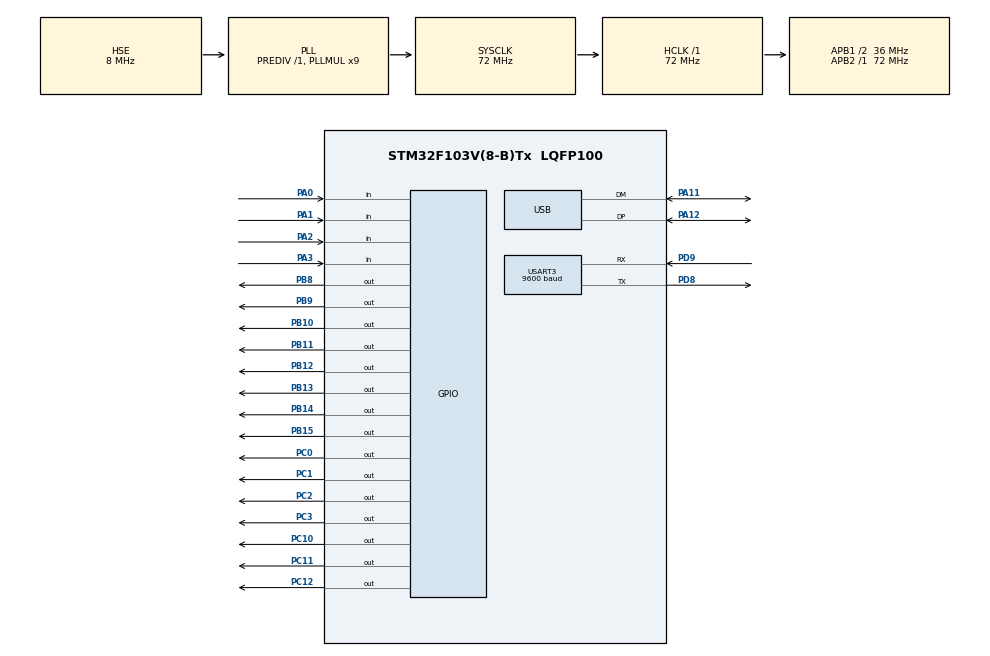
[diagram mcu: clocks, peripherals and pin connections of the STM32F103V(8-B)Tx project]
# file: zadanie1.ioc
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Mcu.Family=STM32F1
Mcu.Name=STM32F103V(8-B)Tx
Mcu.Package=LQFP100
NVIC.PriorityGroup=NVIC_PRIORITYGROUP_4
NVIC.USART3_IRQn=true\:0\:0\:false\:false\:true\:true\:true\:true
NVIC.USB_LP_CAN1_RX0_IRQn=true\:0\:0\:false\:false\:true\:false\:true\:true
OSC_IN.Mode=HSE-External-Oscillator
OSC_IN.Signal=RCC_OSC_IN
OSC_OUT.Mode=HSE-External-Oscillator
OSC_OUT.Signal=RCC_OSC_OUT
PA0-WKUP.Signal=GPIO_Input
PA1.Signal=GPIO_Input
PA11.Mode=Device
PA11.Signal=USB_DM
PA12.Mode=Device
PA12.Signal=USB_DP
PA13.Mode=JTAG_5_pins
PA13.Signal=SYS_JTMS-SWDIO
PA14.Mode=JTAG_5_pins
PA14.Signal=SYS_JTCK-SWCLK
PA15.Mode=JTAG_5_pins
PA15.Signal=SYS_JTDI
PA2.Signal=GPIO_Input
PA3.Signal=GPIO_Input
PB10.Signal=GPIO_Output
PB11.Signal=GPIO_Output
PB12.Signal=GPIO_Output
PB13.Signal=GPIO_Output
PB14.Signal=GPIO_Output
PB15.Signal=GPIO_Output
PB3.Mode=JTAG_5_pins
PB3.Signal=SYS_JTDO-TRACESWO
PB4.Mode=JTAG_5_pins
PB4.Signal=SYS_NJTRST
PB8.Signal=GPIO_Output
PB9.Signal=GPIO_Output
PC0.Signal=GPIO_Output
PC1.Signal=GPIO_Output
PC10.Signal=GPIO_Output
PC11.Signal=GPIO_Output
PC12.Signal=GPIO_Output
PC14-OSC32_IN.Mode=LSE-External-Oscillator
PC14-OSC32_IN.Signal=RCC_OSC32_IN
PC15-OSC32_OUT.Mode=LSE-External-Oscillator
PC15-OSC32_OUT.Signal=RCC_OSC32_OUT
PC2.Signal=GPIO_Output
PC3.Signal=GPIO_Output
PD8.Mode=Asynchronous
PD8.Signal=USART3_TX
PD9.Mode=Asynchronous
PD9.Signal=USART3_RX
ProjectManager.HeapSize=0x200
ProjectManager.StackSize=0x400
ProjectManager.TargetToolchain=MDK-ARM V5.32
RCC.AHBFreq_Value=72000000
RCC.APB1CLKDivider=RCC_HCLK_DIV2
RCC.APB1Freq_Value=36000000
RCC.APB1TimFreq_Value=72000000
RCC.APB2Freq_Value=72000000
RCC.APB2TimFreq_Value=72000000
RCC.HCLKFreq_Value=72000000
RCC.PLLMUL=RCC_PLL_MUL9
RCC.PLLSourceVirtual=RCC_PLLSOURCE_HSE
RCC.SYSCLKFreq_VALUE=72000000
RCC.SYSCLKSource=RCC_SYSCLKSOURCE_PLLCLK
RCC.USBFreq_Value=48000000
RCC.USBPrescaler=RCC_USBCLKSOURCE_PLL_DIV1_5
USART3.BaudRate=9600
USART3.VirtualMode=VM_ASYNC
USB_DEVICE.APP_RX_DATA_SIZE=64
USB_DEVICE.APP_TX_DATA_SIZE=64
USB_DEVICE.CLASS_NAME_FS=CDC
USB_DEVICE.VirtualMode=Cdc
USB_DEVICE.VirtualModeFS=Cdc_FS
VP_USB_DEVICE_VS_USB_DEVICE_CDC_FS.Mode=CDC_FS
board=custom

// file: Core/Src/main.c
/* USER CODE BEGIN Header */
/**
  ******************************************************************************
  * @file           : main.c
  * @brief          : Main program body
  ******************************************************************************
  * @attention
  *
  * Copyright (c) 2022 STMicroelectronics.
  * All rights reserved.
  *
  * This software is licensed under terms that can be found in the LICENSE file
  * in the root directory of this software component.
  * If no LICENSE file comes with this software, it is provided AS-IS.
  *
  ******************************************************************************
  */
/* USER CODE END Header */
#include "main.h"
#include "usb_device.h"

/* USER CODE BEGIN Includes */
#include "lcd4bit.h"
#include "stdio.h"
#include "usbd_cdc_if.h"
/* USER CODE END Includes */

/* USER CODE BEGIN PD */
#define PA0 *((volatile unsigned long*) 0x42210100)
#define PA1 *((volatile unsigned long*) 0x42210104)
#define PA2 *((volatile unsigned long*) 0x42210108)
#define PA3 *((volatile unsigned long*) 0x4221010C)

/* USER CODE END PD */

UART_HandleTypeDef huart3;

/* USER CODE BEGIN PV */

char RXBuf[10];
char TXBuf[10]={"SW_0"};
char Z;
int KOM=0;
int Lr=0;
int NN;
int size;
Lcd_PortType ports[] = {GPIOC, GPIOC, GPIOC, GPIOC};
Lcd_PinType pins[] = {GPIO_PIN_3, GPIO_PIN_2, GPIO_PIN_1, GPIO_PIN_0};
Lcd_HandleTypeDef lcd;
char NMEA_Buff[256];
int NMEA_Size =0;
int crcCheck();
/* USER CODE END PV */

void SystemClock_Config(void);
static void MX_GPIO_Init(void);
static void MX_USART3_UART_Init(void);

/* USER CODE BEGIN PFP */
void USB_DEVICE_MasterHardReset(void);
/* USER CODE END PFP */

int main(void)
{

  /* MCU Configuration--------------------------------------------------------*/

  /* Reset of all peripherals, Initializes the Flash interface and the Systick. */
  HAL_Init();

  /* Configure the system clock */
  SystemClock_Config();

  /* Initialize all configured peripherals */
  MX_GPIO_Init();
  MX_USART3_UART_Init();
	USB_DEVICE_MasterHardReset();
  MX_USB_DEVICE_Init();
  /* USER CODE BEGIN 2 */
	lcd = Lcd_create(ports, pins, GPIOC, GPIO_PIN_12, GPIOC, GPIO_PIN_10, LCD_4_BIT_MODE);
	Lcd_string(&lcd,"Hello!");
	HAL_UART_Receive_IT(&huart3,(uint8_t*) &Z,1);
  /* USER CODE END 2 */

  /* Infinite loop */
  /* USER CODE BEGIN WHILE */
  while (1)
  {
		if (PA0==GPIO_PIN_RESET)
			{
			TXBuf[3]='0';
		  TXBuf[4]=13;
			CDC_Transmit_FS((uint8_t*)TXBuf,5);
			while(PA0==GPIO_PIN_RESET);
			};
		if (PA1==GPIO_PIN_RESET)
			{
			TXBuf[3]='1';
			TXBuf[4]=13;
			CDC_Transmit_FS((uint8_t*)TXBuf,5);
			while(PA1==GPIO_PIN_RESET);
			};
		if (PA2==GPIO_PIN_RESET)
			{
			TXBuf[3]='2';
			TXBuf[4]=13;
			CDC_Transmit_FS((uint8_t*)TXBuf,5);
			while(PA2==GPIO_PIN_RESET);
			};
		if (PA3==GPIO_PIN_RESET)
			{
			TXBuf[3]='3';
			TXBuf[4]=13;
			CDC_Transmit_FS((uint8_t*)TXBuf,5);
			while(PA3==GPIO_PIN_RESET);
			};
    /* USER CODE END WHILE */

  }
}

void SystemClock_Config(void)
{
  RCC_OscInitTypeDef RCC_OscInitStruct = {0};
  RCC_ClkInitTypeDef RCC_ClkInitStruct = {0};
  RCC_PeriphCLKInitTypeDef PeriphClkInit = {0};

  /** Initializes the RCC Oscillators according to the specified parameters
  * in the RCC_OscInitTypeDef structure.
  */
  RCC_OscInitStruct.OscillatorType = RCC_OSCILLATORTYPE_HSE;
  RCC_OscInitStruct.HSEState = RCC_HSE_ON;
  RCC_OscInitStruct.HSEPredivValue = RCC_HSE_PREDIV_DIV1;
  RCC_OscInitStruct.HSIState = RCC_HSI_ON;
  RCC_OscInitStruct.PLL.PLLState = RCC_PLL_ON;
  RCC_OscInitStruct.PLL.PLLSource = RCC_PLLSOURCE_HSE;
  RCC_OscInitStruct.PLL.PLLMUL = RCC_PLL_MUL9;
  if (HAL_RCC_OscConfig(&RCC_OscInitStruct) != HAL_OK)
  {
    Error_Handler();
  }

  /** Initializes the CPU, AHB and APB buses clocks
  */
  RCC_ClkInitStruct.ClockType = RCC_CLOCKTYPE_HCLK|RCC_CLOCKTYPE_SYSCLK
                              |RCC_CLOCKTYPE_PCLK1|RCC_CLOCKTYPE_PCLK2;
  RCC_ClkInitStruct.SYSCLKSource = RCC_SYSCLKSOURCE_PLLCLK;
  RCC_ClkInitStruct.AHBCLKDivider = RCC_SYSCLK_DIV1;
  RCC_ClkInitStruct.APB1CLKDivider = RCC_HCLK_DIV2;
  RCC_ClkInitStruct.APB2CLKDivider = RCC_HCLK_DIV1;

  if (HAL_RCC_ClockConfig(&RCC_ClkInitStruct, FLASH_LATENCY_2) != HAL_OK)
  {
    Error_Handler();
  }
  PeriphClkInit.PeriphClockSelection = RCC_PERIPHCLK_USB;
  PeriphClkInit.UsbClockSelection = RCC_USBCLKSOURCE_PLL_DIV1_5;
  if (HAL_RCCEx_PeriphCLKConfig(&PeriphClkInit) != HAL_OK)
  {
    Error_Handler();
  }
}

static void MX_USART3_UART_Init(void)
{

  huart3.Instance = USART3;
  huart3.Init.BaudRate = 9600;
  huart3.Init.WordLength = UART_WORDLENGTH_8B;
  huart3.Init.StopBits = UART_STOPBITS_1;
  huart3.Init.Parity = UART_PARITY_NONE;
  huart3.Init.Mode = UART_MODE_TX_RX;
  huart3.Init.HwFlowCtl = UART_HWCONTROL_NONE;
  huart3.Init.OverSampling = UART_OVERSAMPLING_16;
  if (HAL_UART_Init(&huart3) != HAL_OK)
  {
    Error_Handler();
  }

}

static void MX_GPIO_Init(void)
{
  GPIO_InitTypeDef GPIO_InitStruct = {0};

  /* GPIO Ports Clock Enable */
  __HAL_RCC_GPIOC_CLK_ENABLE();
  __HAL_RCC_GPIOA_CLK_ENABLE();
  __HAL_RCC_GPIOB_CLK_ENABLE();
  __HAL_RCC_GPIOD_CLK_ENABLE();

  /*Configure GPIO pin Output Level */
  HAL_GPIO_WritePin(GPIOC, GPIO_PIN_0|GPIO_PIN_1|GPIO_PIN_2|GPIO_PIN_3
                          |GPIO_PIN_10|GPIO_PIN_11|GPIO_PIN_12, GPIO_PIN_RESET);

  /*Configure GPIO pin Output Level */
  HAL_GPIO_WritePin(GPIOB, GPIO_PIN_10|GPIO_PIN_11|GPIO_PIN_12|GPIO_PIN_13
                          |GPIO_PIN_14|GPIO_PIN_15|GPIO_PIN_8|GPIO_PIN_9, GPIO_PIN_RESET);

  /*Configure GPIO pins : PC0 PC1 PC2 PC3
                           PC10 PC11 PC12 */
  GPIO_InitStruct.Pin = GPIO_PIN_0|GPIO_PIN_1|GPIO_PIN_2|GPIO_PIN_3
                          |GPIO_PIN_10|GPIO_PIN_11|GPIO_PIN_12;
  GPIO_InitStruct.Mode = GPIO_MODE_OUTPUT_PP;
  GPIO_InitStruct.Pull = GPIO_NOPULL;
  GPIO_InitStruct.Speed = GPIO_SPEED_FREQ_LOW;
  HAL_GPIO_Init(GPIOC, &GPIO_InitStruct);

  /*Configure GPIO pins : PA0 PA1 PA2 PA3 */
  GPIO_InitStruct.Pin = GPIO_PIN_0|GPIO_PIN_1|GPIO_PIN_2|GPIO_PIN_3;
  GPIO_InitStruct.Mode = GPIO_MODE_INPUT;
  GPIO_InitStruct.Pull = GPIO_NOPULL;
  HAL_GPIO_Init(GPIOA, &GPIO_InitStruct);

  /*Configure GPIO pins : PB10 PB11 PB12 PB13
                           PB14 PB15 PB8 PB9 */
  GPIO_InitStruct.Pin = GPIO_PIN_10|GPIO_PIN_11|GPIO_PIN_12|GPIO_PIN_13
                          |GPIO_PIN_14|GPIO_PIN_15|GPIO_PIN_8|GPIO_PIN_9;
  GPIO_InitStruct.Mode = GPIO_MODE_OUTPUT_PP;
  GPIO_InitStruct.Pull = GPIO_NOPULL;
  GPIO_InitStruct.Speed = GPIO_SPEED_FREQ_LOW;
  HAL_GPIO_Init(GPIOB, &GPIO_InitStruct);

}

/* USER CODE BEGIN 4 */
void USB_DEVICE_MasterHardReset(void)

{
     GPIO_InitTypeDef GPIO_InitStruct;
     GPIO_InitStruct.Pin = GPIO_PIN_12;
     GPIO_InitStruct.Mode = GPIO_MODE_OUTPUT_PP;
     GPIO_InitStruct.Pull = GPIO_PULLDOWN;
     GPIO_InitStruct.Speed = GPIO_SPEED_FREQ_HIGH;
     HAL_GPIO_Init(GPIOA, &GPIO_InitStruct);
     HAL_GPIO_WritePin(GPIOA,GPIO_PIN_12,0);
     HAL_Delay(1000);
 }

void HAL_UART_RxCpltCallback(UART_HandleTypeDef *huart)
	{
		static int NMEA_ReadInit =0;
		static int crRead =0;
		static int NMEA_Ready =0;

		if(!NMEA_ReadInit && Z=='$')
				{
					NMEA_ReadInit =1;
					NMEA_Ready =0;
					NMEA_Size =0;;
				}
			else if(!NMEA_ReadInit)
				{
					NMEA_Ready =0;
					NMEA_Size =0;
				}
			else
				{
					if(Z =='\r')
						{
						if(!crRead)
							crRead =1;
						else
							{
							NMEA_ReadInit =0;
							NMEA_Ready =0;
							NMEA_Size =0;
							}
						}
					else if(crRead && Z =='\n')
							{
							if(crcCheck())
								{
									NMEA_Ready =1;
								}
							else
								{
									NMEA_Ready =0;
									NMEA_Size =0;;
								}
							NMEA_ReadInit =0;
							crRead =0;
							}
					else if(crRead && Z!='\n')
							{
								crRead =0;
								NMEA_ReadInit =0;
								NMEA_Ready =0;
								NMEA_Size =0;
							}
					else
							{
								NMEA_Size++;
								NMEA_Buff[NMEA_Size -1]=Z;
							}
				}
		HAL_UART_Receive_IT(&huart3,(uint8_t*) &Z,1);
	};

	int crcCheck()
	{
		char strCrc[3]={'\0','\0','\0'};
		if(NMEA_Buff[NMEA_Size-3]!='*')
			return 0;
		strCrc[0]=NMEA_Buff[NMEA_Size-2];
		strCrc[1]=NMEA_Buff[NMEA_Size-1];
		unsigned char crc =0;
		int declaredCrc =strtol(strCrc,NULL,16);
		for(int i =0;i <NMEA_Size-3;i++)
			crc ^=NMEA_Buff[i];
		return	crc ==declaredCrc;
		}
/* USER CODE END 4 */

void Error_Handler(void)
{
  __disable_irq();
  while (1)
  {
  }
}
